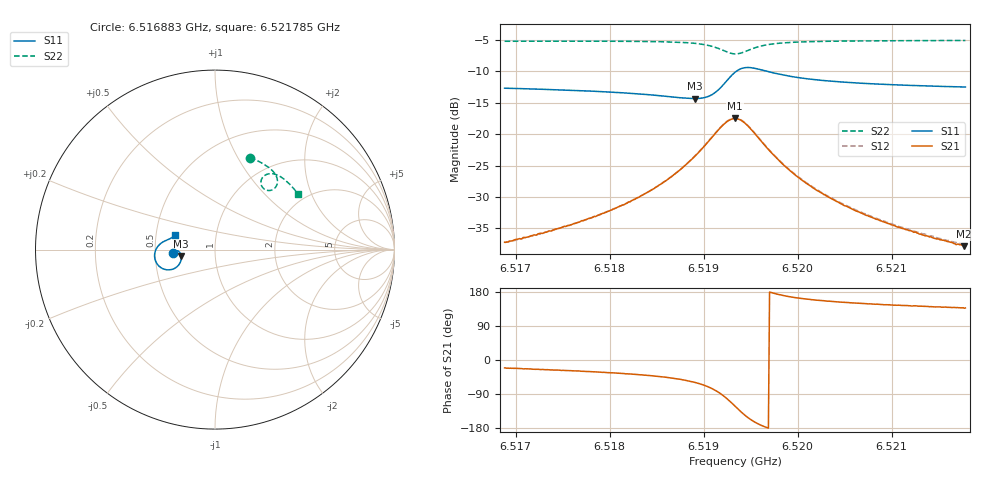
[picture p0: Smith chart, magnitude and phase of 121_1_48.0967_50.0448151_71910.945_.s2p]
#  HZ  S  RI  R  50.00
! Rohde & Schwarz Vector Network Analyzer
! Rohde-Schwarz,ZNB20-2Port,1311601062101988,3.16
! Created: UTC 12/23/2023, 3:46:45 AM
! freq[Hz]  re:S11  im:S11  re:S21  im:S21  re:S12  im:S12  re:S22  im:S22
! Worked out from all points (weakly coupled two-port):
!   401 points, 6.516883 GHz to 6.521785 GHz, reference 50 ohm
!   highest |S21| = -17.51 dB at 6.519334 GHz (marker M1); lowest = -37.8 dB at 6.521772 GHz (marker M2)
!   lowest |S11| = -14.3 dB at 6.518905 GHz (marker M3), VSWR 1.47, Z = 34.1 - j2.47 ohm
!   |S11| at or under -10 dB: start of sweep to 6.519348 GHz; 6.519674 GHz to end of sweep
!   |S22| runs from -7.2 to -5.1 dB; largest |S21 - S12| = 0.0042
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6.5168835e9  -0.2313 -0.0193  0.0129 -0.00491  0.0129 -0.00461  0.1949 0.5123
6.5173123e9  -0.2267 -0.0129  0.015 -0.00714  0.0152 -0.00648  0.2267 0.4993
6.5177044e9  -0.2214 -0.00823  0.0178 -0.0101  0.0181 -0.0096  0.2558 0.4853
6.5181578e9  -0.2127 -0.00557  0.0223 -0.0161  0.0229 -0.0155  0.2898 0.4646
6.5185254e9  -0.2023 -0.00969  0.0285 -0.0271  0.0293 -0.0262  0.3183 0.4414
6.5187337e9  -0.1944 -0.0185  0.0325 -0.0389  0.0339 -0.0382  0.3342 0.4222
6.5189052e9  -0.1886 -0.0349  0.0342 -0.057  0.0362 -0.0564  0.3453 0.3992
6.5190155e9  -0.1885 -0.0536  0.0312 -0.0752  0.0338 -0.0748  0.3482 0.3784
6.5191013e9  -0.1951 -0.0744  0.0217 -0.0941  0.025 -0.0942  0.3439 0.3583
6.519236e9  -0.2363 -0.1093  -0.0201 -0.1219  -0.0168 -0.1234  0.3125 0.3306
6.5193341e9  -0.2919 -0.1058  -0.0702 -0.1132  -0.0674 -0.1161  0.2743 0.3373
6.5193831e9  -0.3162 -0.0878  -0.0897 -0.0949  -0.0877 -0.0982  0.261 0.3527
6.5194443e9  -0.3333 -0.0573  -0.1016 -0.0667  -0.1004 -0.0702  0.2558 0.3759
6.5195424e9  -0.334 -0.0131  -0.0974 -0.0287  -0.0973 -0.0317  0.2676 0.405
6.5196526e9  -0.3189 0.0177  -0.081 -0.00495  -0.0815 -0.00746  0.29 0.4197
6.5198855e9  -0.2883 0.0436  -0.0528 0.0109  -0.0537 0.00953  0.3293 0.4211
6.520155e9  -0.2673 0.0539  -0.0353 0.0134  -0.0361 0.0127  0.3598 0.4089
6.5205594e9  -0.2497 0.0615  -0.0226 0.0125  -0.0233 0.0119  0.3922 0.3863
6.520976e9  -0.2385 0.0676  -0.016 0.0109  -0.0165 0.0107  0.4186 0.3617
6.5213436e9  -0.231 0.0728  -0.0123 0.00976  -0.0129 0.00969  0.4387 0.3395
6.5217724e9  -0.2238 0.0787  -0.00935 0.00881  -0.0101 0.0087  0.4599 0.3131
6.5217847e9  -0.2236 0.0789  -0.00945 0.00874  -0.00986 0.00874  0.4603 0.3121
